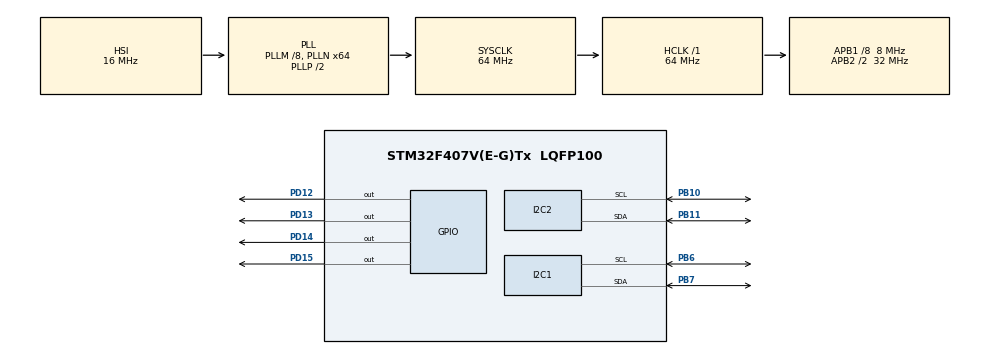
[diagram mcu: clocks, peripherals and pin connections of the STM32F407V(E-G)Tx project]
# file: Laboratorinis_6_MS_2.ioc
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I2C1.OwnAddress=15
I2C2.OwnAddress=20
Mcu.Family=STM32F4
Mcu.Name=STM32F407V(E-G)Tx
Mcu.Package=LQFP100
NVIC.PriorityGroup=NVIC_PRIORITYGROUP_0
PA13.Mode=Trace_Asynchronous_SW
PA13.Signal=SYS_JTMS-SWDIO
PA14.Mode=Trace_Asynchronous_SW
PA14.Signal=SYS_JTCK-SWCLK
PB10.GPIO_Pu=GPIO_PULLUP
PB10.Mode=I2C
PB10.Signal=I2C2_SCL
PB11.GPIO_Pu=GPIO_PULLUP
PB11.Mode=I2C
PB11.Signal=I2C2_SDA
PB3.Mode=Trace_Asynchronous_SW
PB3.Signal=SYS_JTDO-SWO
PB6.GPIO_Pu=GPIO_PULLUP
PB6.Mode=I2C
PB6.Signal=I2C1_SCL
PB7.GPIO_Pu=GPIO_PULLUP
PB7.Mode=I2C
PB7.Signal=I2C1_SDA
PD12.Signal=GPIO_Output
PD13.Signal=GPIO_Output
PD14.Signal=GPIO_Output
PD15.Signal=GPIO_Output
ProjectManager.HeapSize=0x200
ProjectManager.StackSize=0x400
ProjectManager.TargetToolchain=STM32CubeIDE
RCC.48MHZClocksFreq_Value=18285714.285714287
RCC.AHBFreq_Value=64000000
RCC.APB1CLKDivider=RCC_HCLK_DIV8
RCC.APB1Freq_Value=8000000
RCC.APB1TimFreq_Value=16000000
RCC.APB2CLKDivider=RCC_HCLK_DIV2
RCC.APB2Freq_Value=32000000
RCC.APB2TimFreq_Value=64000000
RCC.CortexFreq_Value=64000000
RCC.HCLKFreq_Value=64000000
RCC.HSE_VALUE=8000000
RCC.HSI_VALUE=16000000
RCC.LSE_VALUE=32768
RCC.PLLM=8
RCC.PLLN=64
RCC.PLLQ=7
RCC.SYSCLKFreq_VALUE=64000000
RCC.SYSCLKSource=RCC_SYSCLKSOURCE_PLLCLK
RCC.VCOOutputFreq_Value=128000000
board=STM32F407G-DISC1

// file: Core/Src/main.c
/* USER CODE BEGIN Header */
/**
  ******************************************************************************
  * @file           : main.c
  * @brief          : Main program body
  ******************************************************************************
  * @attention
  *
  * Copyright (c) 2023 STMicroelectronics.
  * All rights reserved.
  *
  * This software is licensed under terms that can be found in the LICENSE file
  * in the root directory of this software component.
  * If no LICENSE file comes with this software, it is provided AS-IS.
  *
  ******************************************************************************
  */
/* USER CODE END Header */
#include "main.h"

I2C_HandleTypeDef hi2c1;
I2C_HandleTypeDef hi2c2;

/* USER CODE BEGIN PV */
uint8_t rx;
uint8_t rx1[3];
int i = 0;
int programSwitch = 1;
/* USER CODE END PV */

void SystemClock_Config(void);
static void MX_GPIO_Init(void);
static void MX_I2C1_Init(void);
static void MX_I2C2_Init(void);

int main(void)
{

  /* MCU Configuration--------------------------------------------------------*/

  /* Reset of all peripherals, Initializes the Flash interface and the Systick. */
  HAL_Init();

  /* Configure the system clock */
  SystemClock_Config();

  /* Initialize all configured peripherals */
  MX_GPIO_Init();
  MX_I2C1_Init();
  MX_I2C2_Init();
  /* USER CODE BEGIN 2 */
  if(programSwitch == 2)
  {
	  HAL_I2C_Slave_Receive(&hi2c2, rx1, 3, 100);
  }

  /* USER CODE END 2 */

  /* Infinite loop */
  /* USER CODE BEGIN WHILE */
  while (1)
  {
	  if(programSwitch == 1)
	  {
		  HAL_I2C_Slave_Receive(&hi2c1, &rx, 1, 100);
		  GPIOD->ODR &= 0x0000;
		  GPIOD->ODR |= (rx << 12);
	  }

	  if(programSwitch == 2)
	  {
		  HAL_I2C_Slave_Receive(&hi2c2, rx1, 3, 100);
		  GPIOD->ODR &= 0x0000;
		  GPIOD->ODR |= (rx1[i] << 12);
		  HAL_Delay(500);
		  	  if(i >= 2){
		  		  i = 0;
		  	  } else {
		  		  i++;
		  	  }
	  }

    /* USER CODE END WHILE */

  }
}

void SystemClock_Config(void)
{
  RCC_OscInitTypeDef RCC_OscInitStruct = {0};
  RCC_ClkInitTypeDef RCC_ClkInitStruct = {0};

  /** Configure the main internal regulator output voltage
  */
  __HAL_RCC_PWR_CLK_ENABLE();
  __HAL_PWR_VOLTAGESCALING_CONFIG(PWR_REGULATOR_VOLTAGE_SCALE1);

  /** Initializes the RCC Oscillators according to the specified parameters
  * in the RCC_OscInitTypeDef structure.
  */
  RCC_OscInitStruct.OscillatorType = RCC_OSCILLATORTYPE_HSI;
  RCC_OscInitStruct.HSIState = RCC_HSI_ON;
  RCC_OscInitStruct.HSICalibrationValue = RCC_HSICALIBRATION_DEFAULT;
  RCC_OscInitStruct.PLL.PLLState = RCC_PLL_ON;
  RCC_OscInitStruct.PLL.PLLSource = RCC_PLLSOURCE_HSI;
  RCC_OscInitStruct.PLL.PLLM = 8;
  RCC_OscInitStruct.PLL.PLLN = 64;
  RCC_OscInitStruct.PLL.PLLP = RCC_PLLP_DIV2;
  RCC_OscInitStruct.PLL.PLLQ = 7;
  if (HAL_RCC_OscConfig(&RCC_OscInitStruct) != HAL_OK)
  {
    Error_Handler();
  }

  /** Initializes the CPU, AHB and APB buses clocks
  */
  RCC_ClkInitStruct.ClockType = RCC_CLOCKTYPE_HCLK|RCC_CLOCKTYPE_SYSCLK
                              |RCC_CLOCKTYPE_PCLK1|RCC_CLOCKTYPE_PCLK2;
  RCC_ClkInitStruct.SYSCLKSource = RCC_SYSCLKSOURCE_PLLCLK;
  RCC_ClkInitStruct.AHBCLKDivider = RCC_SYSCLK_DIV1;
  RCC_ClkInitStruct.APB1CLKDivider = RCC_HCLK_DIV8;
  RCC_ClkInitStruct.APB2CLKDivider = RCC_HCLK_DIV2;

  if (HAL_RCC_ClockConfig(&RCC_ClkInitStruct, FLASH_LATENCY_2) != HAL_OK)
  {
    Error_Handler();
  }
}

static void MX_I2C1_Init(void)
{

  hi2c1.Instance = I2C1;
  hi2c1.Init.ClockSpeed = 100000;
  hi2c1.Init.DutyCycle = I2C_DUTYCYCLE_2;
  hi2c1.Init.OwnAddress1 = 30;
  hi2c1.Init.AddressingMode = I2C_ADDRESSINGMODE_7BIT;
  hi2c1.Init.DualAddressMode = I2C_DUALADDRESS_DISABLE;
  hi2c1.Init.OwnAddress2 = 0;
  hi2c1.Init.GeneralCallMode = I2C_GENERALCALL_DISABLE;
  hi2c1.Init.NoStretchMode = I2C_NOSTRETCH_DISABLE;
  if (HAL_I2C_Init(&hi2c1) != HAL_OK)
  {
    Error_Handler();
  }

}

static void MX_I2C2_Init(void)
{

  hi2c2.Instance = I2C2;
  hi2c2.Init.ClockSpeed = 100000;
  hi2c2.Init.DutyCycle = I2C_DUTYCYCLE_2;
  hi2c2.Init.OwnAddress1 = 40;
  hi2c2.Init.AddressingMode = I2C_ADDRESSINGMODE_7BIT;
  hi2c2.Init.DualAddressMode = I2C_DUALADDRESS_DISABLE;
  hi2c2.Init.OwnAddress2 = 0;
  hi2c2.Init.GeneralCallMode = I2C_GENERALCALL_DISABLE;
  hi2c2.Init.NoStretchMode = I2C_NOSTRETCH_DISABLE;
  if (HAL_I2C_Init(&hi2c2) != HAL_OK)
  {
    Error_Handler();
  }

}

static void MX_GPIO_Init(void)
{
  GPIO_InitTypeDef GPIO_InitStruct = {0};

  /* GPIO Ports Clock Enable */
  __HAL_RCC_GPIOB_CLK_ENABLE();
  __HAL_RCC_GPIOD_CLK_ENABLE();
  __HAL_RCC_GPIOA_CLK_ENABLE();

  /*Configure GPIO pin Output Level */
  HAL_GPIO_WritePin(GPIOD, GPIO_PIN_12|GPIO_PIN_13|GPIO_PIN_14|GPIO_PIN_15, GPIO_PIN_RESET);

  /*Configure GPIO pins : PD12 PD13 PD14 PD15 */
  GPIO_InitStruct.Pin = GPIO_PIN_12|GPIO_PIN_13|GPIO_PIN_14|GPIO_PIN_15;
  GPIO_InitStruct.Mode = GPIO_MODE_OUTPUT_PP;
  GPIO_InitStruct.Pull = GPIO_NOPULL;
  GPIO_InitStruct.Speed = GPIO_SPEED_FREQ_LOW;
  HAL_GPIO_Init(GPIOD, &GPIO_InitStruct);

}

void Error_Handler(void)
{
  __disable_irq();
  while (1)
  {
  }
}
